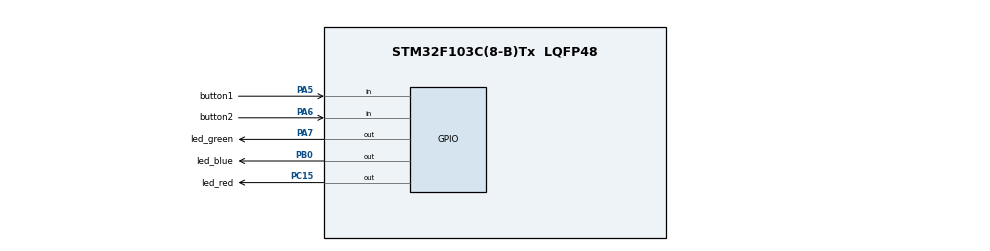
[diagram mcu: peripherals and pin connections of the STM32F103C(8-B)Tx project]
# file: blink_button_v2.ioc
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Mcu.Family=STM32F1
Mcu.Name=STM32F103C(8-B)Tx
Mcu.Package=LQFP48
NVIC.PriorityGroup=NVIC_PRIORITYGROUP_4
PA13.Mode=Serial_Wire
PA13.Signal=SYS_JTMS-SWDIO
PA14.Mode=Serial_Wire
PA14.Signal=SYS_JTCK-SWCLK
PA5.GPIO_Label=button1
PA5.GPIO_PuPd=GPIO_NOPULL
PA5.Signal=GPIO_Input
PA6.GPIO_Label=button2
PA6.GPIO_PuPd=GPIO_NOPULL
PA6.Signal=GPIO_Input
PA7.GPIO_Label=led_green
PA7.GPIO_PuPd=GPIO_PULLDOWN
PA7.Signal=GPIO_Output
PB0.GPIO_Label=led_blue
PB0.GPIO_PuPd=GPIO_PULLUP
PB0.Signal=GPIO_Output
PC15-OSC32_OUT.GPIO_Label=led_red
PC15-OSC32_OUT.Signal=GPIO_Output
PD0-OSC_IN.Mode=HSE-External-Oscillator
PD0-OSC_IN.Signal=RCC_OSC_IN
PD1-OSC_OUT.Mode=HSE-External-Oscillator
PD1-OSC_OUT.Signal=RCC_OSC_OUT
ProjectManager.HeapSize=0x200
ProjectManager.StackSize=0x400
ProjectManager.TargetToolchain=MDK-ARM V5.32
RCC.APB1Freq_Value=8000000
RCC.APB2Freq_Value=8000000
board=custom

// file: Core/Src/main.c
/* USER CODE BEGIN Header */
/**
  ******************************************************************************
  * @file           : main.c
  * @brief          : Main program body
  ******************************************************************************
  * @attention
  *
  * Copyright (c) 2023 STMicroelectronics.
  * All rights reserved.
  *
  * This software is licensed under terms that can be found in the LICENSE file
  * in the root directory of this software component.
  * If no LICENSE file comes with this software, it is provided AS-IS.
  *
  ******************************************************************************
  */
/* USER CODE END Header */
#include "main.h"

void SystemClock_Config(void);
static void MX_GPIO_Init(void);

int main(void)
{

  /* MCU Configuration--------------------------------------------------------*/

  /* Reset of all peripherals, Initializes the Flash interface and the Systick. */
  HAL_Init();

  /* Configure the system clock */
  SystemClock_Config();

  /* Initialize all configured peripherals */
  MX_GPIO_Init();

  /* Infinite loop */
  while (1)
  {

    /* USER CODE BEGIN 3 */
		if(HAL_GPIO_ReadPin(GPIOA,button1_Pin) == 1 && HAL_GPIO_ReadPin(GPIOA,button2_Pin) == 1)
		{
			HAL_GPIO_WritePin(GPIOA,led_green_Pin,GPIO_PIN_SET);
			HAL_GPIO_WritePin(GPIOB,led_blue_Pin,GPIO_PIN_RESET);
			HAL_GPIO_WritePin(GPIOC,led_red_Pin,GPIO_PIN_RESET);
		}
		else if(HAL_GPIO_ReadPin(GPIOA,button2_Pin) == 1&& HAL_GPIO_ReadPin(GPIOA,button1_Pin) == 0)
		{
			HAL_GPIO_WritePin(GPIOA,led_green_Pin,GPIO_PIN_SET);
			HAL_GPIO_WritePin(GPIOB,led_blue_Pin,GPIO_PIN_SET);
			HAL_GPIO_WritePin(GPIOC,led_red_Pin,GPIO_PIN_SET);
		}
		else if(HAL_GPIO_ReadPin(GPIOA,button2_Pin) == 0&& HAL_GPIO_ReadPin(GPIOA,button1_Pin) == 1)
		{
			HAL_GPIO_WritePin(GPIOA,led_green_Pin,GPIO_PIN_RESET);
			HAL_GPIO_WritePin(GPIOB,led_blue_Pin,GPIO_PIN_RESET);
			HAL_GPIO_WritePin(GPIOC,led_red_Pin,GPIO_PIN_RESET);
		}
		else
		{
			HAL_GPIO_WritePin(GPIOA,led_blue_Pin,GPIO_PIN_SET);
			HAL_GPIO_WritePin(GPIOB,led_red_Pin,GPIO_PIN_SET);
			HAL_GPIO_WritePin(GPIOC,led_red_Pin,GPIO_PIN_RESET);
		}
  }
  /* USER CODE END 3 */
}

void SystemClock_Config(void)
{
  RCC_OscInitTypeDef RCC_OscInitStruct = {0};
  RCC_ClkInitTypeDef RCC_ClkInitStruct = {0};

  /** Initializes the RCC Oscillators according to the specified parameters
  * in the RCC_OscInitTypeDef structure.
  */
  RCC_OscInitStruct.OscillatorType = RCC_OSCILLATORTYPE_HSI;
  RCC_OscInitStruct.HSIState = RCC_HSI_ON;
  RCC_OscInitStruct.HSICalibrationValue = RCC_HSICALIBRATION_DEFAULT;
  RCC_OscInitStruct.PLL.PLLState = RCC_PLL_NONE;
  if (HAL_RCC_OscConfig(&RCC_OscInitStruct) != HAL_OK)
  {
    Error_Handler();
  }

  /** Initializes the CPU, AHB and APB buses clocks
  */
  RCC_ClkInitStruct.ClockType = RCC_CLOCKTYPE_HCLK|RCC_CLOCKTYPE_SYSCLK
                              |RCC_CLOCKTYPE_PCLK1|RCC_CLOCKTYPE_PCLK2;
  RCC_ClkInitStruct.SYSCLKSource = RCC_SYSCLKSOURCE_HSI;
  RCC_ClkInitStruct.AHBCLKDivider = RCC_SYSCLK_DIV1;
  RCC_ClkInitStruct.APB1CLKDivider = RCC_HCLK_DIV1;
  RCC_ClkInitStruct.APB2CLKDivider = RCC_HCLK_DIV1;

  if (HAL_RCC_ClockConfig(&RCC_ClkInitStruct, FLASH_LATENCY_0) != HAL_OK)
  {
    Error_Handler();
  }
}

static void MX_GPIO_Init(void)
{
  GPIO_InitTypeDef GPIO_InitStruct = {0};

  /* GPIO Ports Clock Enable */
  __HAL_RCC_GPIOC_CLK_ENABLE();
  __HAL_RCC_GPIOD_CLK_ENABLE();
  __HAL_RCC_GPIOA_CLK_ENABLE();
  __HAL_RCC_GPIOB_CLK_ENABLE();

  /*Configure GPIO pin Output Level */
  HAL_GPIO_WritePin(led_red_GPIO_Port, led_red_Pin, GPIO_PIN_RESET);

  /*Configure GPIO pin Output Level */
  HAL_GPIO_WritePin(led_green_GPIO_Port, led_green_Pin, GPIO_PIN_RESET);

  /*Configure GPIO pin Output Level */
  HAL_GPIO_WritePin(led_blue_GPIO_Port, led_blue_Pin, GPIO_PIN_RESET);

  /*Configure GPIO pin : led_red_Pin */
  GPIO_InitStruct.Pin = led_red_Pin;
  GPIO_InitStruct.Mode = GPIO_MODE_OUTPUT_PP;
  GPIO_InitStruct.Pull = GPIO_NOPULL;
  GPIO_InitStruct.Speed = GPIO_SPEED_FREQ_LOW;
  HAL_GPIO_Init(led_red_GPIO_Port, &GPIO_InitStruct);

  /*Configure GPIO pins : button1_Pin button2_Pin */
  GPIO_InitStruct.Pin = button1_Pin|button2_Pin;
  GPIO_InitStruct.Mode = GPIO_MODE_INPUT;
  GPIO_InitStruct.Pull = GPIO_NOPULL;
  HAL_GPIO_Init(GPIOA, &GPIO_InitStruct);

  /*Configure GPIO pin : led_green_Pin */
  GPIO_InitStruct.Pin = led_green_Pin;
  GPIO_InitStruct.Mode = GPIO_MODE_OUTPUT_PP;
  GPIO_InitStruct.Pull = GPIO_PULLDOWN;
  GPIO_InitStruct.Speed = GPIO_SPEED_FREQ_LOW;
  HAL_GPIO_Init(led_green_GPIO_Port, &GPIO_InitStruct);

  /*Configure GPIO pin : led_blue_Pin */
  GPIO_InitStruct.Pin = led_blue_Pin;
  GPIO_InitStruct.Mode = GPIO_MODE_OUTPUT_PP;
  GPIO_InitStruct.Pull = GPIO_PULLUP;
  GPIO_InitStruct.Speed = GPIO_SPEED_FREQ_LOW;
  HAL_GPIO_Init(led_blue_GPIO_Port, &GPIO_InitStruct);

}

void Error_Handler(void)
{
  __disable_irq();
  while (1)
  {
  }
}
